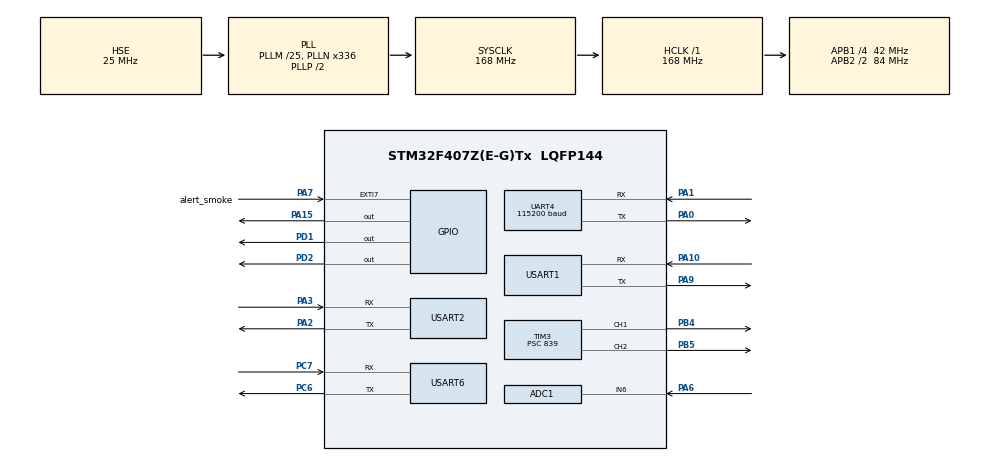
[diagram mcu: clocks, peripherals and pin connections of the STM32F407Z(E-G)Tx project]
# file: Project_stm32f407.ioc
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ADC1.Channel-3\#ChannelRegularConversion=ADC_CHANNEL_6
ADC1.NbrOfConversionFlag=1
ADC1.Rank-3\#ChannelRegularConversion=1
ADC1.SamplingTime-3\#ChannelRegularConversion=ADC_SAMPLETIME_3CYCLES
ADC1.master=1
Dma.Request0=USART2_RX
Dma.Request1=USART2_TX
Dma.USART2_RX.0.Direction=DMA_PERIPH_TO_MEMORY
Dma.USART2_RX.0.FIFOMode=DMA_FIFOMODE_DISABLE
Dma.USART2_RX.0.Instance=DMA1_Stream5
Dma.USART2_RX.0.MemDataAlignment=DMA_MDATAALIGN_BYTE
Dma.USART2_RX.0.MemInc=DMA_MINC_ENABLE
Dma.USART2_RX.0.Mode=DMA_CIRCULAR
Dma.USART2_RX.0.PeriphDataAlignment=DMA_PDATAALIGN_BYTE
Dma.USART2_RX.0.PeriphInc=DMA_PINC_DISABLE
Dma.USART2_RX.0.Priority=DMA_PRIORITY_LOW
Dma.USART2_TX.1.Direction=DMA_MEMORY_TO_PERIPH
Dma.USART2_TX.1.FIFOMode=DMA_FIFOMODE_DISABLE
Dma.USART2_TX.1.Instance=DMA1_Stream6
Dma.USART2_TX.1.MemDataAlignment=DMA_MDATAALIGN_BYTE
Dma.USART2_TX.1.MemInc=DMA_MINC_ENABLE
Dma.USART2_TX.1.Mode=DMA_NORMAL
Dma.USART2_TX.1.PeriphDataAlignment=DMA_PDATAALIGN_BYTE
Dma.USART2_TX.1.PeriphInc=DMA_PINC_DISABLE
Dma.USART2_TX.1.Priority=DMA_PRIORITY_LOW
FREERTOS.Mutexes01=UART4_Protect,Dynamic,NULL,Available
FREERTOS.Tasks01=defaultTask,48,128,StartDefaultTask,Default,NULL,Dynamic,NULL,NULL;Smoke,32,256,Smoke_detect,Default,NULL,Dynamic,NULL,NULL;Slave,32,256,Slave_communicate,Default,NULL,Dynamic,NULL,NULL;Pwm,24,256,pwm_task,Default,NULL,Dynamic,NULL,NULL;Water_Pump,8,256,Pump_task,Default,NULL,Dynamic,NULL,NULL
FREERTOS.configTOTAL_HEAP_SIZE=40960
Mcu.Family=STM32F4
Mcu.Name=STM32F407Z(E-G)Tx
Mcu.Package=LQFP144
NVIC.DMA1_Stream5_IRQn=true\:5\:0\:false\:false\:true\:true\:false\:true\:true
NVIC.DMA1_Stream6_IRQn=true\:5\:0\:false\:false\:true\:true\:false\:true\:true
NVIC.EXTI9_5_IRQn=true\:5\:0\:false\:false\:true\:false\:true\:true\:true
NVIC.PriorityGroup=NVIC_PRIORITYGROUP_4
NVIC.TIM7_IRQn=true\:15\:0\:false\:false\:true\:false\:false\:true\:true
NVIC.TimeBase=TIM7_IRQn
NVIC.TimeBaseIP=TIM7
NVIC.UART4_IRQn=true\:5\:0\:false\:false\:true\:true\:false\:true\:true
PA0-WKUP.Mode=Asynchronous
PA0-WKUP.Signal=UART4_TX
PA1.Mode=Asynchronous
PA1.Signal=UART4_RX
PA10.Mode=Asynchronous
PA10.Signal=USART1_RX
PA13.Mode=Serial_Wire
PA13.Signal=SYS_JTMS-SWDIO
PA14.Mode=Serial_Wire
PA14.Signal=SYS_JTCK-SWCLK
PA15.Signal=GPIO_Output
PA2.Mode=Asynchronous
PA2.Signal=USART2_TX
PA3.Mode=Asynchronous
PA3.Signal=USART2_RX
PA6.Signal=ADCx_IN6
PA7.GPIO_Label=alert_smoke
PA7.GPIO_ModeDefaultEXTI=GPIO_MODE_IT_RISING_FALLING
PA7.GPIO_PuPd=GPIO_PULLUP
PA7.Signal=GPXTI7
PA9.Mode=Asynchronous
PA9.Signal=USART1_TX
PB4.GPIO_Speed=GPIO_SPEED_FREQ_VERY_HIGH
PB4.Signal=S_TIM3_CH1
PB5.Signal=S_TIM3_CH2
PC6.Mode=Asynchronous
PC6.Signal=USART6_TX
PC7.Mode=Asynchronous
PC7.Signal=USART6_RX
PD1.GPIO_PuPd=GPIO_PULLDOWN
PD1.Signal=GPIO_Output
PD2.GPIO_PuPd=GPIO_PULLDOWN
PD2.Signal=GPIO_Output
PH0-OSC_IN.Mode=HSE-External-Oscillator
PH0-OSC_IN.Signal=RCC_OSC_IN
PH1-OSC_OUT.Mode=HSE-External-Oscillator
PH1-OSC_OUT.Signal=RCC_OSC_OUT
ProjectManager.HeapSize=0x6000
ProjectManager.StackSize=0x1000
ProjectManager.TargetToolchain=CMake
RCC.48MHZClocksFreq_Value=48000000
RCC.AHBFreq_Value=168000000
RCC.APB1CLKDivider=RCC_HCLK_DIV4
RCC.APB1Freq_Value=42000000
RCC.APB1TimFreq_Value=84000000
RCC.APB2CLKDivider=RCC_HCLK_DIV2
RCC.APB2Freq_Value=84000000
RCC.APB2TimFreq_Value=168000000
RCC.CortexFreq_Value=168000000
RCC.HCLKFreq_Value=168000000
RCC.HSE_VALUE=25000000
RCC.HSI_VALUE=16000000
RCC.LSE_VALUE=32768
RCC.PLLM=25
RCC.PLLN=336
RCC.PLLQ=7
RCC.PLLSourceVirtual=RCC_PLLSOURCE_HSE
RCC.SYSCLKFreq_VALUE=168000000
RCC.SYSCLKSource=RCC_SYSCLKSOURCE_PLLCLK
RCC.VCOOutputFreq_Value=336000000
SH.ADCx_IN6.0=ADC1_IN6,IN6
SH.S_TIM3_CH1.0=TIM3_CH1,PWM Generation1 CH1
SH.S_TIM3_CH2.0=TIM3_CH2,PWM Generation2 CH2
TIM3.Channel-PWM\ Generation1\ CH1=TIM_CHANNEL_1
TIM3.Channel-PWM\ Generation2\ CH2=TIM_CHANNEL_2
TIM3.Period=1999
TIM3.Prescaler=839
TIM3.Pulse-PWM\ Generation1\ CH1=50
TIM3.Pulse-PWM\ Generation2\ CH2=50
UART4.BaudRate=115200
UART4.Mode=MODE_TX_RX
UART4.VirtualMode=Asynchronous
USART1.VirtualMode=VM_ASYNC
USART2.VirtualMode=VM_ASYNC
USART6.VirtualMode=VM_ASYNC
VP_FREERTOS_VS_CMSIS_V2.Mode=CMSIS_V2
VP_SYS_VS_tim7.Mode=TIM7
board=custom

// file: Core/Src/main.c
/* USER CODE BEGIN Header */
/**
  ******************************************************************************
  * @file           : main.c
  * @brief          : Main program body
  ******************************************************************************
  * @attention
  *
  * Copyright (c) 2026 STMicroelectronics.
  * All rights reserved.
  *
  * This software is licensed under terms that can be found in the LICENSE file
  * in the root directory of this software component.
  * If no LICENSE file comes with this software, it is provided AS-IS.
  *
  ******************************************************************************
  */
/* USER CODE END Header */
#include "main.h"
#include "cmsis_os.h"
#include "adc.h"
#include "dma.h"
#include "tim.h"
#include "usart.h"
#include "gpio.h"

/* USER CODE BEGIN Includes */
#include "odom_uart_rx.h"
/* USER CODE END Includes */

void SystemClock_Config(void);
void MX_FREERTOS_Init(void);

int main(void)
{

  /* MCU Configuration--------------------------------------------------------*/

  /* Reset of all peripherals, Initializes the Flash interface and the Systick. */
  HAL_Init();

  /* Configure the system clock */
  SystemClock_Config();

  /* Initialize all configured peripherals */
  MX_GPIO_Init();
  MX_DMA_Init();
  MX_UART4_Init();
  MX_ADC1_Init();
  MX_USART1_UART_Init();
  MX_USART6_UART_Init();
  MX_USART2_UART_Init();
  MX_TIM3_Init();
  /* USER CODE BEGIN 2 */
  OdomUartRx_Init();
  /* USER CODE END 2 */

  /* Init scheduler */
  osKernelInitialize();  /* Call init function for freertos objects (in cmsis_os2.c) */
  MX_FREERTOS_Init();

  /* Start scheduler */
  osKernelStart();

  /* We should never get here as control is now taken by the scheduler */

  /* Infinite loop */
  while (1)
  {

  }
}

void SystemClock_Config(void)
{
  RCC_OscInitTypeDef RCC_OscInitStruct = {0};
  RCC_ClkInitTypeDef RCC_ClkInitStruct = {0};

  /** Configure the main internal regulator output voltage
  */
  __HAL_RCC_PWR_CLK_ENABLE();
  __HAL_PWR_VOLTAGESCALING_CONFIG(PWR_REGULATOR_VOLTAGE_SCALE1);

  /** Initializes the RCC Oscillators according to the specified parameters
  * in the RCC_OscInitTypeDef structure.
  */
  RCC_OscInitStruct.OscillatorType = RCC_OSCILLATORTYPE_HSE;
  RCC_OscInitStruct.HSEState = RCC_HSE_ON;
  RCC_OscInitStruct.PLL.PLLState = RCC_PLL_ON;
  RCC_OscInitStruct.PLL.PLLSource = RCC_PLLSOURCE_HSE;
  RCC_OscInitStruct.PLL.PLLM = 25;
  RCC_OscInitStruct.PLL.PLLN = 336;
  RCC_OscInitStruct.PLL.PLLP = RCC_PLLP_DIV2;
  RCC_OscInitStruct.PLL.PLLQ = 7;
  if (HAL_RCC_OscConfig(&RCC_OscInitStruct) != HAL_OK)
  {
    Error_Handler();
  }

  /** Initializes the CPU, AHB and APB buses clocks
  */
  RCC_ClkInitStruct.ClockType = RCC_CLOCKTYPE_HCLK|RCC_CLOCKTYPE_SYSCLK
                              |RCC_CLOCKTYPE_PCLK1|RCC_CLOCKTYPE_PCLK2;
  RCC_ClkInitStruct.SYSCLKSource = RCC_SYSCLKSOURCE_PLLCLK;
  RCC_ClkInitStruct.AHBCLKDivider = RCC_SYSCLK_DIV1;
  RCC_ClkInitStruct.APB1CLKDivider = RCC_HCLK_DIV4;
  RCC_ClkInitStruct.APB2CLKDivider = RCC_HCLK_DIV2;

  if (HAL_RCC_ClockConfig(&RCC_ClkInitStruct, FLASH_LATENCY_5) != HAL_OK)
  {
    Error_Handler();
  }
}

void HAL_TIM_PeriodElapsedCallback(TIM_HandleTypeDef *htim)
{
  if (htim->Instance == TIM7)
  {
    HAL_IncTick();
  }
}

void Error_Handler(void)
{
  __disable_irq();
  while (1)
  {
  }
}

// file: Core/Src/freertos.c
/* USER CODE BEGIN Header */
/**
  ******************************************************************************
  * File Name          : freertos.c
  * Description        : Code for freertos applications
  ******************************************************************************
  * @attention
  *
  * Copyright (c) 2026 STMicroelectronics.
  * All rights reserved.
  *
  * This software is licensed under terms that can be found in the LICENSE file
  * in the root directory of this software component.
  * If no LICENSE file comes with this software, it is provided AS-IS.
  *
  ******************************************************************************
  */
/* USER CODE END Header */

#include "FreeRTOS.h"
#include "task.h"
#include "main.h"
#include "cmsis_os.h"

/* USER CODE BEGIN Includes */
#include "app_freertos_logic.h"
/* USER CODE END Includes */

/* Definitions for defaultTask */
osThreadId_t defaultTaskHandle;
const osThreadAttr_t defaultTask_attributes = {
  .name = "defaultTask",
  .stack_size = 128 * 4,
  .priority = (osPriority_t) osPriorityRealtime,
};
/* Definitions for Smoke */
osThreadId_t SmokeHandle;
const osThreadAttr_t Smoke_attributes = {
  .name = "Smoke",
  .stack_size = 256 * 4,
  .priority = (osPriority_t) osPriorityAboveNormal,
};
/* Definitions for Slave */
osThreadId_t SlaveHandle;
const osThreadAttr_t Slave_attributes = {
  .name = "Slave",
  .stack_size = 256 * 4,
  .priority = (osPriority_t) osPriorityAboveNormal,
};
/* Definitions for Pwm */
osThreadId_t PwmHandle;
const osThreadAttr_t Pwm_attributes = {
  .name = "Pwm",
  .stack_size = 256 * 4,
  .priority = (osPriority_t) osPriorityNormal,
};
/* Definitions for Water_Pump */
osThreadId_t Water_PumpHandle;
const osThreadAttr_t Water_Pump_attributes = {
  .name = "Water_Pump",
  .stack_size = 256 * 4,
  .priority = (osPriority_t) osPriorityLow,
};
/* Definitions for UART4_Protect */
osMutexId_t UART4_ProtectHandle;
const osMutexAttr_t UART4_Protect_attributes = {
  .name = "UART4_Protect"
};

void StartDefaultTask(void *argument);
void Smoke_detect(void *argument);
void Slave_communicate(void *argument);
void pwm_task(void *argument);
void Pump_task(void *argument);

void MX_FREERTOS_Init(void); /* (MISRA C 2004 rule 8.1) */

void MX_FREERTOS_Init(void) {
  /* Create the mutex(es) */
  /* creation of UART4_Protect */
  UART4_ProtectHandle = osMutexNew(&UART4_Protect_attributes);

  /* Create the thread(s) */
  /* creation of defaultTask */
  defaultTaskHandle = osThreadNew(StartDefaultTask, NULL, &defaultTask_attributes);

  /* creation of Smoke */
  SmokeHandle = osThreadNew(Smoke_detect, NULL, &Smoke_attributes);

  /* creation of Slave */
  SlaveHandle = osThreadNew(Slave_communicate, NULL, &Slave_attributes);

  /* creation of Pwm */
  PwmHandle = osThreadNew(pwm_task, NULL, &Pwm_attributes);

  /* creation of Water_Pump */
  Water_PumpHandle = osThreadNew(Pump_task, NULL, &Water_Pump_attributes);

}

void StartDefaultTask(void *argument)
{
  /* USER CODE BEGIN StartDefaultTask */
  AppTasks_StartDefault(argument);
  /* USER CODE END StartDefaultTask */
}

void Smoke_detect(void *argument)
{
  /* USER CODE BEGIN Smoke_detect */
  (void)argument;
  for(;;)
  {
    AppTasks_SmokeStep();
    osDelay(200U);
  }
  /* USER CODE END Smoke_detect */
}

void Slave_communicate(void *argument)
{
  /* USER CODE BEGIN Slave_communicate */
  (void)argument;
  for(;;)
  {
    osDelay(1U);
  }
  /* USER CODE END Slave_communicate */
}

void pwm_task(void *argument)
{
  /* USER CODE BEGIN pwm_task */
  (void)argument;
  AppTasks_PwmInit();
  for(;;)
  {
    AppTasks_PwmStep();
    osDelay(1U);
  }
  /* USER CODE END pwm_task */
}

void Pump_task(void *argument)
{
  /* USER CODE BEGIN Pump_task */
  (void)argument;
  for(;;)
  {
    AppTasks_PumpStep();
    osDelay(1U);
  }
  /* USER CODE END Pump_task */
}

/* USER CODE BEGIN Application */
void HAL_GPIO_EXTI_Callback(uint16_t GPIO_Pin)
{
  AppTasks_OnExti(GPIO_Pin);
}
/* USER CODE END Application */
